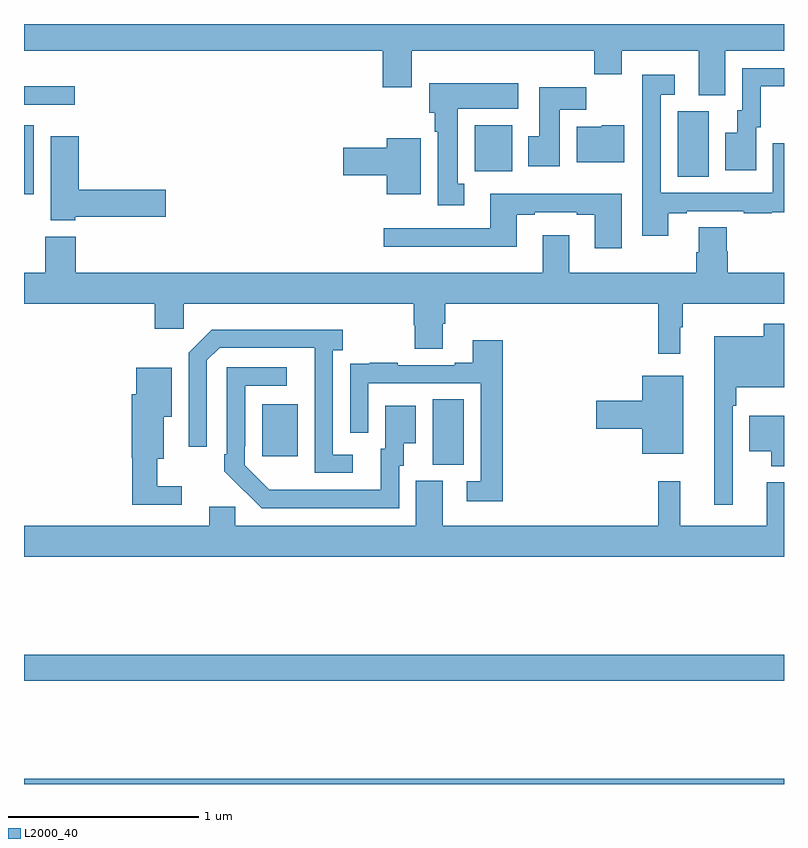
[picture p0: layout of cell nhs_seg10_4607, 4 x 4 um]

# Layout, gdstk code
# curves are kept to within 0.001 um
import gdstk
lib = gdstk.Library(unit=1e-6, precision=1e-09)
def R(c, l, rs):  # rectangles x0, y0, x1, y1
    for r in rs: c.add(gdstk.rectangle(r[:2], r[2:], *l))
def P(c, l, *ps):  # polygons
    for p in ps: c.add(gdstk.Polygon(p, *l))
L2000_40 = (2000, 40)

nhs_seg10_4607 = lib.new_cell('nhs_seg10_4607')
R(nhs_seg10_4607, L2000_40, [(375,1252.5,379,1252.528), (375,1253.044,379,1253.18), (377.15,1254.181,377.314,1254.524), (376.253,1254.225,376.441,1254.499), (375,1255.604,375.052,1255.966), (378.44,1255.696,378.604,1256.04), (377.372,1255.724,377.569,1255.966), (375,1256.076,375.268,1256.172)])
P(nhs_seg10_4607, L2000_40, [(378.691,1256.36),(379,1256.36),(379,1256.5),(375,1256.5),(375,1256.36),(376.889,1256.36),(376.889,1256.166),(377.041,1256.166),(377.041,1256.36),(378.001,1256.36),(378.001,1256.236),(378.145,1256.236),(378.145,1256.36),(378.551,1256.36),(378.551,1256.125),(378.691,1256.125)],
  [(378.853,1255.956),(378.877,1255.956),(378.877,1256.172),(379,1256.172),(379,1256.268),(378.78,1256.268),(378.78,1256.046),(378.755,1256.046),(378.755,1255.927),(378.692,1255.927),(378.692,1255.731),(378.853,1255.731)],
  [(378.391,1255.503),(378.487,1255.503),(378.487,1255.515),(378.787,1255.515),(378.787,1255.503),(378.935,1255.503),(378.935,1255.509),(379,1255.509),(379,1255.873),(378.942,1255.873),(378.942,1255.611),(378.351,1255.611),(378.351,1256.127),(378.424,1256.127),(378.424,1256.233),(378.255,1256.233),(378.255,1255.386),(378.391,1255.386)],
  [(377.317,1255.658),(377.284,1255.658),(377.284,1256.054),(377.602,1256.054),(377.602,1256.188),(377.132,1256.188),(377.132,1256.034),(377.162,1256.034),(377.162,1255.934),(377.177,1255.934),(377.177,1255.545),(377.317,1255.545)],
  [(377.821,1256.048),(377.96,1256.048),(377.96,1256.167),(377.711,1256.167),(377.711,1255.908),(377.654,1255.908),(377.654,1255.752),(377.821,1255.752)],
  [(378.16,1255.966),(378.042,1255.966),(378.042,1255.96),(377.909,1255.96),(377.909,1255.772),(378.16,1255.772)],
  [(375.27,1255.486),(375.745,1255.486),(375.745,1255.628),(375.287,1255.628),(375.287,1255.909),(375.14,1255.909),(375.14,1255.466),(375.27,1255.466)],
  [(377.089,1255.9),(376.91,1255.9),(376.91,1255.85),(376.68,1255.85),(376.68,1255.703),(376.91,1255.703),(376.91,1255.604),(377.089,1255.604)],
  [(378.145,1255.606),(377.453,1255.606),(377.453,1255.425),(376.893,1255.425),(376.893,1255.328),(377.593,1255.328),(377.593,1255.497),(377.689,1255.497),(377.689,1255.509),(377.909,1255.509),(377.909,1255.497),(378.005,1255.497),(378.005,1255.32),(378.145,1255.32)],
  [(378.337,1254.765),(378.454,1254.765),(378.454,1254.905),(378.466,1254.905),(378.466,1255.028),(379,1255.028),(379,1255.192),(378.704,1255.192),(378.704,1255.305),(378.699,1255.305),(378.699,1255.43),(378.551,1255.43),(378.551,1255.298),(378.539,1255.298),(378.539,1255.192),(377.869,1255.192),(377.869,1255.387),(377.729,1255.387),(377.729,1255.192),(375.272,1255.192),(375.272,1255.381),(375.112,1255.381),(375.112,1255.192),(375,1255.192),(375,1255.028),(375.689,1255.028),(375.689,1254.897),(375.84,1254.897),(375.84,1255.028),(377.051,1255.028),(377.051,1254.915),(377.056,1254.915),(377.056,1254.79),(377.203,1254.79),(377.203,1254.922),(377.216,1254.922),(377.216,1255.028),(378.337,1255.028)],
  [(378.729,1254.491),(378.749,1254.491),(378.749,1254.587),(379,1254.587),(379,1254.922),(378.894,1254.922),(378.894,1254.856),(378.632,1254.856),(378.632,1253.97),(378.729,1253.97)],
  [(376.729,1254.234),(376.626,1254.234),(376.626,1254.782),(376.678,1254.782),(376.678,1254.892),(375.988,1254.892),(375.867,1254.771),(375.867,1254.276),(375.963,1254.276),(375.963,1254.729),(376.029,1254.795),(376.529,1254.795),(376.53,1254.138),(376.729,1254.138)],
  [(377.519,1254.835),(377.363,1254.835),(377.363,1254.718),(377.267,1254.718),(377.267,1254.705),(376.967,1254.705),(376.967,1254.718),(376.819,1254.718),(376.819,1254.711),(376.717,1254.711),(376.717,1254.602),(376.716,1254.602),(376.716,1254.348),(376.812,1254.348),(376.812,1254.609),(377.403,1254.609),(377.403,1254.093),(377.331,1254.093),(377.331,1253.988),(377.519,1253.988)],
  [(376.974,1254.174),(376.999,1254.174),(376.999,1254.293),(377.062,1254.293),(377.062,1254.49),(376.901,1254.49),(376.901,1254.264),(376.877,1254.264),(376.877,1254.048),(376.29,1254.049),(376.161,1254.177),(376.161,1254.277),(376.164,1254.277),(376.164,1254.597),(376.384,1254.597),(376.384,1254.693),(376.068,1254.693),(376.068,1254.235),(376.053,1254.235),(376.053,1254.147),(376.25,1253.952),(376.974,1253.952)],
  [(375.829,1254.067),(375.7,1254.067),(375.7,1254.212),(375.736,1254.212),(375.736,1254.434),(375.778,1254.434),(375.778,1254.691),(375.59,1254.691),(375.59,1254.552),(375.566,1254.552),(375.566,1254.216),(375.571,1254.216),(375.571,1253.97),(375.829,1253.97)],
  [(378.469,1254.649),(378.254,1254.649),(378.254,1254.518),(378.012,1254.518),(378.012,1254.371),(378.254,1254.371),(378.254,1254.239),(378.469,1254.239)],
  [(379,1254.439),(378.818,1254.439),(378.818,1254.251),(378.932,1254.251),(378.932,1254.173),(379,1254.173)],
  [(379,1254.088),(378.908,1254.088),(378.908,1253.86),(378.455,1253.86),(378.455,1254.094),(378.337,1254.094),(378.337,1253.86),(377.203,1253.86),(377.203,1254.096),(377.063,1254.096),(377.063,1253.86),(376.113,1253.86),(376.113,1253.958),(375.974,1253.958),(375.974,1253.86),(375,1253.86),(375,1253.696),(379,1253.696)])

lib.write_gds('nhs_seg10_4607.gds')
